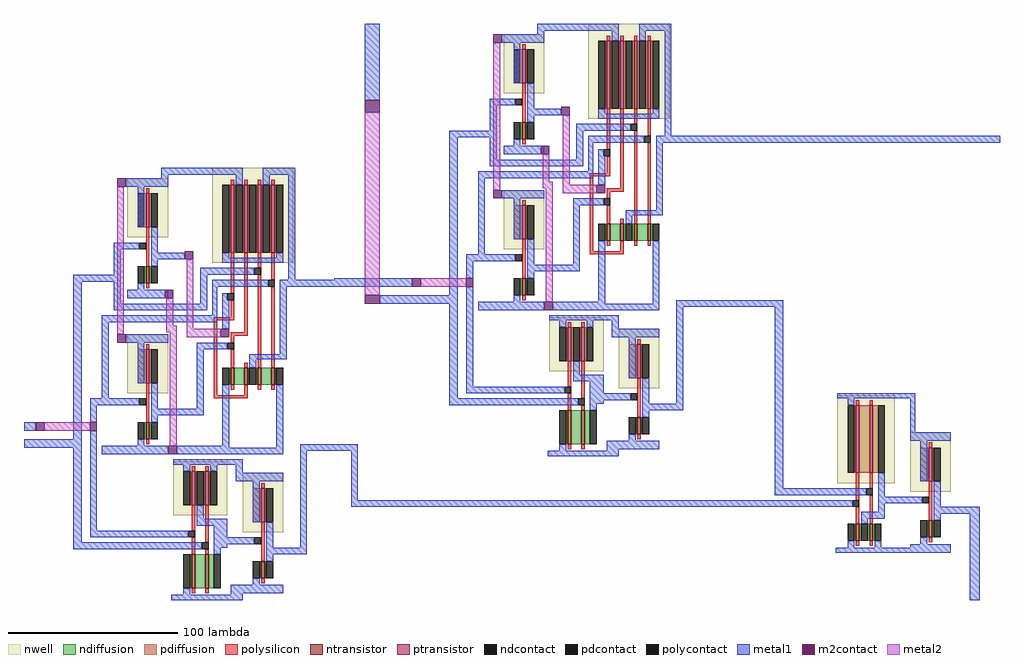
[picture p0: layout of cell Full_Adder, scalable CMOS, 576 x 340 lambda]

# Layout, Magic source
magic
tech scmos
<< metal1 >>
rect 568 556 577 601
rect 772 531 943 535
rect 550 446 589 451
rect 577 436 589 441
rect 772 434 815 438
rect 550 349 564 353
rect 560 320 564 349
rect 810 327 815 434
rect 810 323 846 327
rect 560 316 846 320
rect 914 312 931 316
rect 925 261 931 312
<< metal2 >>
rect 568 441 577 549
<< m2contact >>
rect 568 549 577 556
rect 568 436 577 441
use OR  OR_0
transform 1 0 846 0 1 289
box 0 0 68 94
use Half_Adder  Half_Adder_1
transform 1 0 635 0 1 432
box -46 -86 137 169
use Half_Adder  Half_Adder_0
transform 1 0 413 0 1 347
box -46 -86 137 169
<< end >>

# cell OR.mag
magic
tech scmos
<< metal1 >>
rect 35 91 47 94
rect 44 71 47 91
rect 35 29 44 33
rect 35 0 44 3
use 2INV  2INV_0
transform 1 0 44 0 1 -45
box 0 45 24 116
use NOR  NOR_0
transform 1 0 1 0 1 42
box -1 -42 34 52
<< end >>

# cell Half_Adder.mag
magic
tech scmos
<< metal1 >>
rect -17 102 0 106
rect -46 14 -39 19
rect -17 9 -12 102
rect 114 99 137 103
rect -46 4 -12 9
rect -17 -52 -12 4
rect -7 29 0 33
rect -7 19 -3 29
rect -7 -45 -3 14
rect 117 2 137 6
rect -7 -49 42 -45
rect -17 -56 42 -52
rect 117 -55 121 2
rect 107 -59 121 -55
<< metal2 >>
rect -34 14 -7 19
<< m2contact >>
rect -39 14 -34 19
rect -7 14 -3 19
use XOR  XOR_0
transform 1 0 15 0 1 92
box -15 -92 99 77
use AND  AND_0
transform 1 0 41 0 1 -86
box 0 0 66 83
<< end >>

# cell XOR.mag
magic
tech scmos
<< nwell >>
rect 50 21 98 77
<< polysilicon >>
rect 61 67 63 70
rect 69 67 71 70
rect 77 67 79 70
rect 85 67 87 70
rect 61 3 63 27
rect 61 -11 63 -1
rect 51 -13 63 -11
rect 51 -57 53 -13
rect 69 -20 71 27
rect 77 18 79 27
rect 61 -22 71 -20
rect 61 -26 63 -22
rect 61 -41 63 -30
rect 69 -41 71 -38
rect 77 -41 79 14
rect 85 11 87 27
rect 85 -41 87 7
rect 61 -54 63 -51
rect 69 -57 71 -51
rect 77 -54 79 -51
rect 85 -54 87 -51
rect 51 -59 71 -57
<< ndiffusion >>
rect 60 -51 61 -41
rect 63 -51 69 -41
rect 71 -51 72 -41
rect 76 -51 77 -41
rect 79 -51 85 -41
rect 87 -51 88 -41
<< pdiffusion >>
rect 60 27 61 67
rect 63 27 64 67
rect 68 27 69 67
rect 71 27 72 67
rect 76 27 77 67
rect 79 27 80 67
rect 84 27 85 67
rect 87 27 88 67
<< metal1 >>
rect 20 73 68 77
rect 20 71 24 73
rect -1 66 24 71
rect 64 67 68 73
rect 80 73 99 77
rect 80 67 84 73
rect -8 29 6 33
rect -8 14 -4 29
rect 21 23 34 27
rect 56 24 60 27
rect 88 24 92 27
rect 56 21 92 24
rect -15 10 -4 14
rect -8 -3 -4 10
rect 43 14 75 18
rect 43 -3 47 14
rect 95 11 99 73
rect -8 -7 47 -3
rect 50 7 83 11
rect 90 7 99 11
rect 50 -10 53 7
rect -15 -14 53 -10
rect 56 -1 59 3
rect -15 -59 -11 -14
rect 56 -18 60 -1
rect -1 -26 24 -21
rect 41 -30 59 -26
rect -15 -63 5 -59
rect 41 -65 45 -30
rect 90 -33 94 7
rect 72 -36 94 -33
rect 72 -41 76 -36
rect 18 -69 45 -65
rect 56 -87 60 -51
rect -15 -92 11 -87
rect 14 -92 24 -87
rect 29 -88 60 -87
rect 88 -88 92 -51
rect 29 -92 92 -88
<< metal2 >>
rect -6 -21 -2 66
rect 23 -16 27 0
rect 23 -20 29 -16
rect 25 -87 29 -20
rect 35 -18 39 23
rect 35 -23 55 -18
<< ntransistor >>
rect 61 -51 63 -41
rect 69 -51 71 -41
rect 77 -51 79 -41
rect 85 -51 87 -41
<< ptransistor >>
rect 61 27 63 67
rect 69 27 71 67
rect 77 27 79 67
rect 85 27 87 67
<< polycontact >>
rect 59 -1 63 3
rect 75 14 79 18
rect 59 -30 63 -26
rect 83 7 87 11
<< ndcontact >>
rect 56 -51 60 -41
rect 72 -51 76 -41
rect 88 -51 92 -41
<< pdcontact >>
rect 6 42 10 62
rect 56 27 60 67
rect 64 27 68 67
rect 72 27 76 67
rect 80 27 84 67
rect 88 27 92 67
<< m2contact >>
rect -6 66 -1 71
rect 34 23 39 28
rect 22 0 27 5
rect -6 -26 -1 -21
rect 55 -23 60 -18
rect 24 -92 29 -87
use 2INV  2INV_1
transform 1 0 0 0 1 -137
box 0 45 24 116
use 2INV  2INV_0
transform 1 0 0 0 1 -45
box 0 45 24 116
<< labels >>
rlabel metal1 26 75 37 75 5 vdd
rlabel metal1 42 -90 53 -90 1 gnd
<< end >>

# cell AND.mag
magic
tech scmos
<< metal1 >>
rect 33 80 42 83
rect 38 70 42 80
rect 33 33 42 37
rect 35 3 42 9
rect 33 0 42 3
use NAND  NAND_0
transform 1 0 1 0 1 50
box -1 -50 32 33
use 2INV  2INV_0
transform 1 0 42 0 1 -41
box 0 45 24 116
<< end >>

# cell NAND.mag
magic
tech scmos
<< nwell >>
rect 0 0 32 32
<< polysilicon >>
rect 11 26 13 29
rect 19 26 21 29
rect 11 -9 13 6
rect 11 -23 13 -13
rect 19 -16 21 6
rect 19 -23 21 -20
rect 11 -46 13 -43
rect 19 -46 21 -43
<< ndiffusion >>
rect 10 -43 11 -23
rect 13 -43 19 -23
rect 21 -43 24 -23
<< pdiffusion >>
rect 10 6 11 26
rect 13 6 14 26
rect 18 6 19 26
rect 21 6 22 26
<< metal1 >>
rect 0 30 32 33
rect 6 26 10 30
rect 22 26 26 30
rect 14 -2 18 6
rect 14 -6 32 -2
rect -1 -13 9 -9
rect -1 -20 17 -16
rect 24 -19 32 -6
rect 24 -23 28 -19
rect 6 -47 10 -43
rect -1 -50 32 -47
<< ntransistor >>
rect 11 -43 13 -23
rect 19 -43 21 -23
<< ptransistor >>
rect 11 6 13 26
rect 19 6 21 26
<< polycontact >>
rect 9 -13 13 -9
rect 17 -20 21 -16
<< ndcontact >>
rect 6 -43 10 -23
rect 24 -43 28 -23
<< pdcontact >>
rect 6 6 10 26
rect 14 6 18 26
rect 22 6 26 26
<< labels >>
rlabel metal1 13 32 22 33 5 vdd
rlabel metal1 10 -49 19 -48 1 gnd
<< end >>

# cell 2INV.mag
magic
tech scmos
<< nwell >>
rect 0 81 24 116
<< polysilicon >>
rect 11 107 13 110
rect 11 64 13 87
rect 11 51 13 54
<< ndiffusion >>
rect 10 54 11 64
rect 13 54 14 64
<< pdiffusion >>
rect 6 87 11 107
rect 13 87 14 107
<< metal1 >>
rect 0 111 24 116
rect 6 87 10 111
rect 0 74 7 78
rect 14 72 18 87
rect 14 68 24 72
rect 14 64 18 68
rect 6 50 10 54
rect 0 45 24 50
<< ntransistor >>
rect 11 54 13 64
<< ptransistor >>
rect 11 87 13 107
<< polycontact >>
rect 7 74 11 78
<< ndcontact >>
rect 6 54 10 64
rect 14 54 18 64
<< pdcontact >>
rect 14 87 18 107
<< labels >>
rlabel metal1 6 115 14 116 5 vdd
rlabel metal1 10 48 18 49 1 gnd
<< end >>

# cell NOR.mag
magic
tech scmos
<< nwell >>
rect 0 -1 34 51
<< polysilicon >>
rect 11 45 13 48
rect 19 45 21 48
rect 11 -11 13 5
rect 19 -4 21 5
rect 11 -25 13 -15
rect 19 -25 21 -8
rect 11 -38 13 -35
rect 19 -38 21 -35
<< ndiffusion >>
rect 10 -35 11 -25
rect 13 -35 14 -25
rect 18 -35 19 -25
rect 21 -35 22 -25
<< pdiffusion >>
rect 10 5 11 45
rect 13 5 19 45
rect 21 5 24 45
<< metal1 >>
rect 0 49 34 52
rect 6 45 10 49
rect -1 -8 17 -4
rect 24 -9 28 5
rect -1 -15 9 -11
rect 24 -13 34 -9
rect 24 -18 28 -13
rect 14 -22 28 -18
rect 14 -25 18 -22
rect 6 -39 10 -35
rect 22 -39 26 -35
rect -1 -42 34 -39
<< ntransistor >>
rect 11 -35 13 -25
rect 19 -35 21 -25
<< ptransistor >>
rect 11 5 13 45
rect 19 5 21 45
<< polycontact >>
rect 17 -8 21 -4
rect 9 -15 13 -11
<< ndcontact >>
rect 6 -35 10 -25
rect 14 -35 18 -25
rect 22 -35 26 -25
<< pdcontact >>
rect 6 5 10 45
rect 24 5 28 45
<< labels >>
rlabel metal1 13 51 26 52 5 vdd
rlabel metal1 7 -41 20 -40 1 gnd
<< end >>
